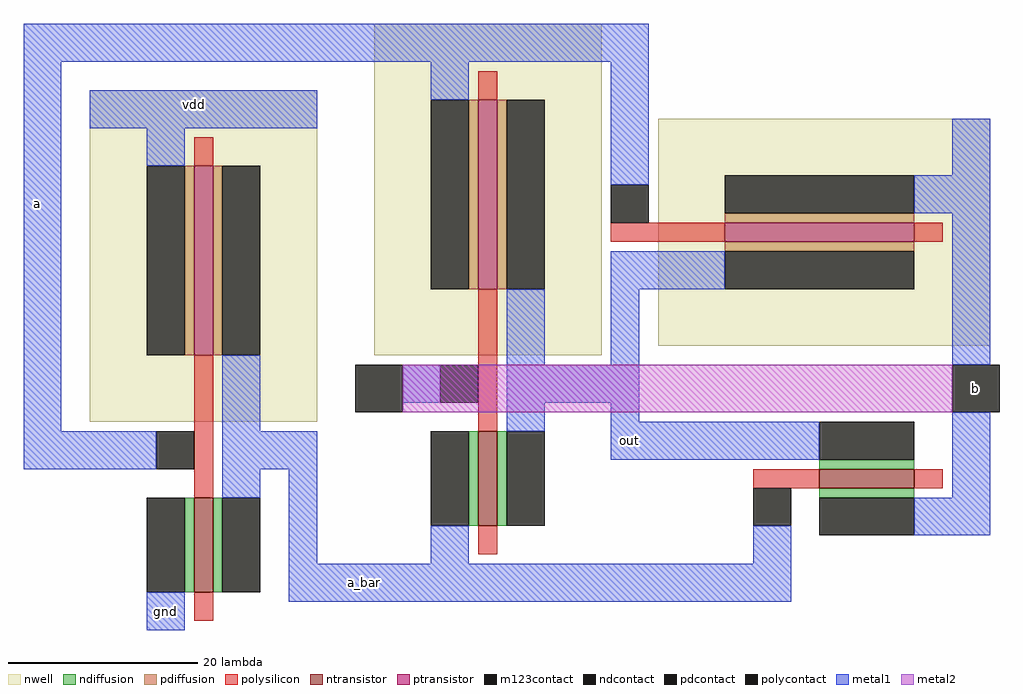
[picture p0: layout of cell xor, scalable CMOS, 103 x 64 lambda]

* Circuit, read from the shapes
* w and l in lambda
.subckt xor a a_bar b gnd out vdd
M1 a_bar a gnd VSUBS nfet w=10 l=2
M2 out b a_bar VSUBS nfet w=10 l=2
M3 out a_bar b VSUBS nfet w=10 l=2
M4 a_bar a vdd n1 pfet w=20 l=2
M5 out b a n2 pfet w=20 l=2
M6 b a out n3 pfet w=20 l=2
.ends

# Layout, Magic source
magic
tech scmos
<< nwell >>
rect -30 42 -6 77
rect 0 49 24 84
rect 30 50 65 74
<< ntransistor >>
rect -19 24 -17 34
rect 11 31 13 41
rect 47 35 57 37
<< ptransistor >>
rect -19 49 -17 69
rect 11 56 13 76
rect 37 61 57 63
<< ndiffusion >>
rect -20 24 -19 34
rect -17 24 -16 34
rect 10 31 11 41
rect 13 31 14 41
rect 47 37 57 38
rect 47 34 57 35
<< pdiffusion >>
rect -20 49 -19 69
rect -17 49 -16 69
rect 10 56 11 76
rect 13 56 14 76
rect 37 63 57 64
rect 37 60 57 61
<< ndcontact >>
rect -24 24 -20 34
rect -16 24 -12 34
rect 6 31 10 41
rect 14 31 18 41
rect 47 38 57 42
rect 47 30 57 34
<< pdcontact >>
rect -24 49 -20 69
rect -16 49 -12 69
rect 6 56 10 76
rect 14 56 18 76
rect 37 64 57 68
rect 37 56 57 60
<< polysilicon >>
rect 11 76 13 79
rect -19 69 -17 72
rect 25 61 37 63
rect 57 61 60 63
rect -19 34 -17 49
rect 11 41 13 56
rect 40 35 47 37
rect 57 35 60 37
rect 11 28 13 31
rect -19 21 -17 24
<< polycontact >>
rect 25 63 29 67
rect -23 37 -19 41
rect 7 44 11 48
rect 40 31 44 35
<< metal1 >>
rect -37 80 29 84
rect -37 41 -33 80
rect -30 73 -6 77
rect 6 76 10 80
rect -24 69 -20 73
rect 25 67 29 80
rect 61 68 65 74
rect 57 64 65 68
rect -16 41 -12 49
rect 14 48 18 56
rect 25 56 37 60
rect 25 48 28 56
rect 3 44 7 48
rect 14 44 28 48
rect 14 41 18 44
rect -37 37 -23 41
rect -16 37 -6 41
rect -16 34 -12 37
rect -9 27 -6 37
rect 25 42 28 44
rect 61 48 65 64
rect 25 38 47 42
rect 61 34 65 43
rect 6 27 10 31
rect 40 27 44 31
rect 57 30 65 34
rect -24 20 -20 24
rect -9 23 44 27
<< metal2 >>
rect 3 43 61 48
<< m123contact >>
rect -2 43 3 48
rect 61 43 66 48
<< labels >>
rlabel metal1 -6 23 4 27 1 a_bar
rlabel metal1 -37 55 -34 75 3 a
rlabel metal1 -29 74 -9 77 1 vdd
rlabel metal1 -24 20 -20 24 1 gnd
rlabel m123contact 61 43 66 48 7 b
rlabel metal1 25 38 29 42 1 out
<< end >>
